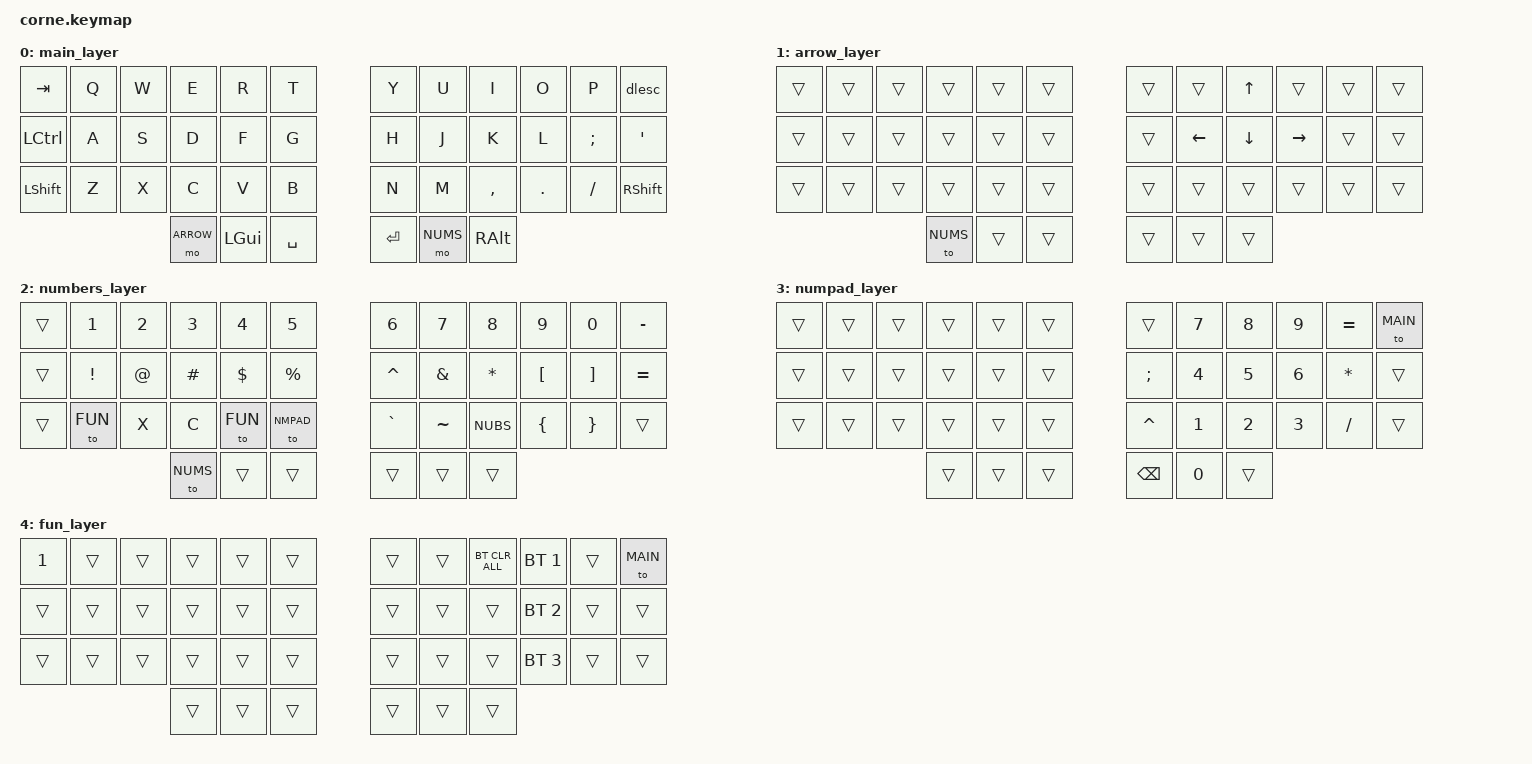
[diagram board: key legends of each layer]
/*
 * Copyright (c) 2020 The ZMK Contributors
 *
 * SPDX-License-Identifier: MIT
 */

#include <behaviors.dtsi>
#include <dt-bindings/zmk/keys.h>
#include <dt-bindings/zmk/bt.h>

#define MAIN 0
#define ARROW 1
#define NUMS 2
#define NMPAD 3
#define FUN 4


/ {
        keymap {
                compatible = "zmk,keymap";

                main_layer {
            // ---------------------------------------------------------------------------------------------------
            // | TAB |  Q  |  W  |  E  |  R  |  T  |                        |  Y  |  U  |  I  |  O  |  P  | DEL/ESC |
            // |LCTRL|  A  |  S  |  D  |  F  |  G  |                        |  H  |  J  |  K  |  L  |  :  |  "  |
            // |LSHFT|  Z  |  X  |  C  |  V  |  B  |                        |  N  |  M  |  ,  |  .  |  /  |RSHFT|
            //                        | ARW | LCMD | SPACE |         | RTRN | NUMS | RALT |
            // ---------------------------------------------------------------------------------------------------
                        bindings = <
                &kp TAB   &kp Q &kp W &kp E &kp R &kp T                           &kp Y &kp U  &kp I     &kp O   &kp P    &dlesc
                &kp LCTRL &kp A &kp S &kp D &kp F &kp G                           &kp H &kp J  &kp K     &kp L   &kp SEMI &kp SQT
                &kp LSHFT &kp Z &kp X &kp C &kp V &kp B                           &kp N &kp M  &kp COMMA &kp DOT &kp FSLH &kp RSHFT
                                        &mo ARROW &kp LGUI &kp SPACE      &kp RET &mo NUMS &kp RALT
                        >;
                };
                arrow_layer {
            // ---------------------------------------------------------------------------------------------------
            // |     |     |     |     |     |     |                        |     |     |  UP |     |     |     |
            // |     |     |     |     |     |     |                        |     | LFT | DWN | RGT |     |     |
            // |     |     |     |     |     |     |                        |     |     |     |     |     |     |
            //                         |     |     |      |          |      |     |     |
            // ---------------------------------------------------------------------------------------------------
                        bindings = <
                &trans &trans &trans &trans &trans &trans                    &trans &trans    &kp UP    &trans    &trans &trans
                &trans &trans &trans &trans &trans &trans                    &trans &kp LEFT  &kp DOWN  &kp RIGHT &trans &trans
                &trans &trans &trans &trans &trans &trans                    &trans &trans    &trans    &trans    &trans &trans
                                            &to NUMS &trans &trans     &trans &trans &trans
                        >;
                };
                numbers_layer {
            // ---------------------------------------------------------------------------------------------------
            // |     |  1  |  2  |  3  |  4  |  5  |                        |  6  |  7  |  8  |  9  |  0  |  _  |
            // |     |  !  |  @  |  #  |  $  |  %  |                        |  ^  |  &  |  *  |  [  |  ]  |  +  |
            // |     |     |     |     | FUN |NMPAD|                        |  `  |  ~  | "|" |  {  |  }  |     |
            //                         | LCK |     |      |          |      | NUMS |     |
            // ---------------------------------------------------------------------------------------------------
                        bindings = <
                &trans   &kp N1   &kp N2  &kp N3   &kp N4   &kp N5           &kp N6    &kp N7     &kp N8     &kp N9    &kp N0    &kp MINUS
                &trans   &kp EXCL &kp AT  &kp HASH &kp DLLR &kp PRCNT        &kp CARET &kp AMPS   &kp STAR   &kp LBKT  &kp RBKT  &kp EQUAL
                &trans   &to FUN  &kp X   &kp C    &to FUN  &to NMPAD        &kp GRAVE &kp TILDE  &kp NUBS   &kp LBRC  &kp RBRC  &trans
                                                 &to NUMS &trans &trans     &trans &trans  &trans
                        >;
                };
                numpad_layer {
            // ---------------------------------------------------------------------------------------------------
            // |     |     |     |     |     |     |                        |     |  7  |  8  |  9  |  +  |     |
            // |     |     |     |     |     |     |                        |  :  |  4  |  5  |  6  |  *  |     |
            // |     |     |     |     |     |     |                        |  ^  |  1  |  2  |  3  |  /  |     |
            //                         |     |     |      |          | bspc |  0  |     |
            // ---------------------------------------------------------------------------------------------------
                        bindings = <
                &trans &trans &trans &trans &trans &trans                    &trans    &kp N7   &kp N8   &kp N9   &kp EQUAL &to MAIN
                &trans &trans &trans &trans &trans &trans                    &kp SEMI  &kp N4   &kp N5   &kp N6   &kp STAR  &trans
                &trans &trans &trans &trans &trans &trans                    &kp CARET &kp N1   &kp N2   &kp N3   &kp FSLH  &trans
                                            &trans &trans &trans     &kp BSPC &kp N0 &trans
                        >;
                };
                fun_layer {
            // ---------------------------------------------------------------------------------------------------
            // |     |     |     |     |     |     |                        |     |     |     |btclr| bt1 |     |
            // |     |     |     |     |     |     |                        |     |     |     |     | bt2 |     |
            // |     |     |     |     |     |     |                        |     |     |     |     | bt3 |     |
            //                         |     |     |      |          |      |     |     |
            // ---------------------------------------------------------------------------------------------------
                        bindings = <
                &kp N1 &trans &trans &trans &trans &trans                    &trans &trans    &bt BT_CLR_ALL    &bt BT_SEL 1    &trans &to MAIN
                &trans &trans &trans &trans &trans &trans                    &trans &trans  &trans  &bt BT_SEL 2 &trans &trans
                &trans &trans &trans &trans &trans &trans                    &trans &trans    &trans    &bt BT_SEL 3    &trans &trans
                                            &trans &trans &trans     &trans &trans &trans
                        >;
                };
        };
        behaviors {
        dlesc: delete_escape {
            compatible = "zmk,behavior-mod-morph";
            #binding-cells = <0>;
            bindings = <&kp BSPC>, <&kp ESC>;
            mods = <(MOD_RSFT)>;
        };
        lt: layer_tap {
            compatible = "zmk,behavior-hold-tap";
            #binding-cells = <2>;
            flavor = "hold-preferred";
            tapping-term-ms = <200>;
            bindings = <&to>, <&mo>;
            display-name = "Layer-Tap";
        };
    };
};

&nice_view_spi {
    cs-gpios = <&pro_micro 0 GPIO_ACTIVE_HIGH>;
};
